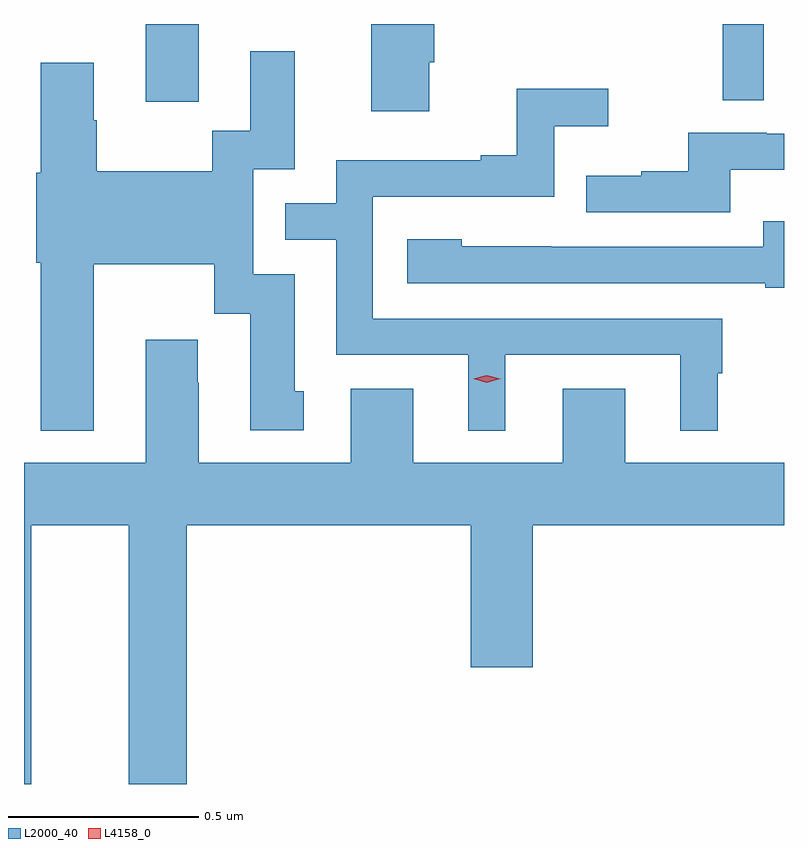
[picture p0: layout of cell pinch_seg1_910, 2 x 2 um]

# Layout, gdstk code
import gdstk
lib = gdstk.Library(unit=1e-6, precision=1e-09)
def R(c, l, rs):  # rectangles x0, y0, x1, y1
    for r in rs: c.add(gdstk.rectangle(r[:2], r[2:], *l))
def P(c, l, *ps):  # polygons
    for p in ps: c.add(gdstk.Polygon(p, *l))
L2000_40 = (2000, 40)
L4158_0 = (4158, 0)

pinch_seg1_910 = lib.new_cell('pinch_seg1_910')
R(pinch_seg1_910, L2000_40, [(511.805,542.19,511.945,542.395), (513.324,542.194,513.432,542.395)])
P(pinch_seg1_910, L2000_40, [(512.551,542.295),(512.564,542.295),(512.564,542.395),(512.399,542.395),(512.399,542.166),(512.551,542.166)],
  [(511.669,541.763),(511.985,541.763),(511.985,541.632),(512.081,541.632),(512.081,541.326),(512.221,541.326),(512.221,541.428),(512.197,541.428),(512.197,541.737),(512.088,541.737),(512.088,542.013),(512.197,542.013),(512.197,542.323),(512.081,542.323),(512.081,542.114),(511.98,542.114),(511.98,542.008),(511.677,542.008),(511.677,542.142),(511.669,542.142),(511.669,542.293),(511.529,542.293),(511.529,542.004),(511.517,542.004),(511.517,541.767),(511.529,541.767),(511.529,541.325),(511.669,541.325)],
  [(512.752,541.524),(513.212,541.524),(513.212,541.325),(513.31,541.325),(513.31,541.476),(513.322,541.476),(513.322,541.62),(512.403,541.62),(512.403,541.941),(512.88,541.941),(512.88,542.126),(513.022,542.126),(513.022,542.225),(512.782,542.225),(512.782,542.05),(512.687,542.05),(512.687,542.037),(512.307,542.037),(512.307,541.923),(512.173,541.923),(512.173,541.827),(512.307,541.827),(512.307,541.524),(512.654,541.524),(512.654,541.325),(512.752,541.325)],
  [(513.343,542.012),(513.485,542.012),(513.485,542.106),(513.44,542.106),(513.44,542.109),(513.233,542.109),(513.233,542.008),(513.109,542.008),(513.109,541.996),(512.965,541.996),(512.965,541.899),(513.343,541.899)],
  [(513.485,541.876),(513.431,541.876),(513.431,541.809),(512.873,541.809),(512.873,541.81),(512.637,541.81),(512.637,541.828),(512.493,541.828),(512.493,541.713),(513.435,541.713),(513.435,541.701),(513.485,541.701)],
  [(511.504,541.076),(511.76,541.076),(511.76,540.395),(511.913,540.395),(511.913,541.076),(512.66,541.076),(512.66,540.702),(512.824,540.702),(512.824,541.076),(513.485,541.076),(513.485,541.24),(513.067,541.24),(513.067,541.435),(512.903,541.435),(512.903,541.24),(512.509,541.24),(512.509,541.435),(512.345,541.435),(512.345,541.24),(511.945,541.24),(511.945,541.451),(511.942,541.451),(511.942,541.564),(511.805,541.564),(511.805,541.24),(511.485,541.24),(511.485,540.395),(511.504,540.395)])
P(pinch_seg1_910, L4158_0, [(512.703,541.451),(512.667,541.461),(512.667,541.461),(512.667,541.461),(512.703,541.471),(512.738,541.461),(512.739,541.461),(512.738,541.461)])

lib.write_gds('pinch_seg1_910.gds')
